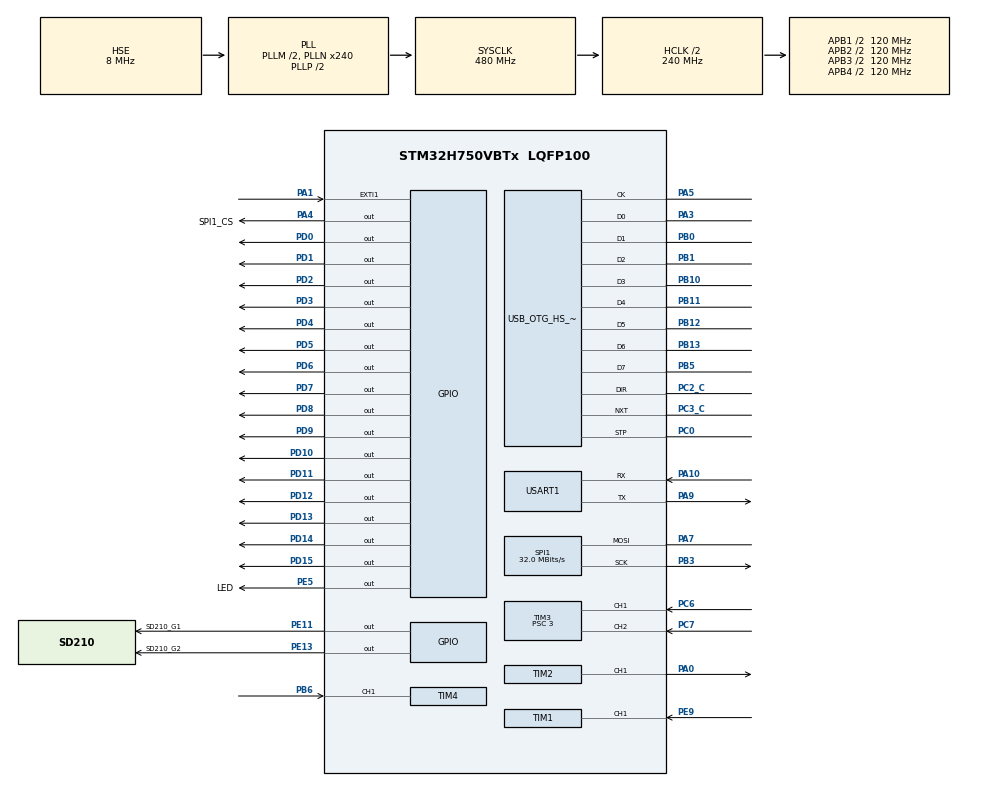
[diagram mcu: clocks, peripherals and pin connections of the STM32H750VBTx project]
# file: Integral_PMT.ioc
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CORTEX_M7.default_mode_Activation=0
Mcu.Family=STM32H7
Mcu.Name=STM32H750VBTx
Mcu.Package=LQFP100
NVIC.EXTI1_IRQn=true\:0\:0\:false\:false\:true\:true\:true\:true
NVIC.OTG_HS_EP1_IN_IRQn=true\:0\:0\:false\:false\:true\:true\:true\:true
NVIC.OTG_HS_EP1_OUT_IRQn=true\:0\:0\:false\:false\:true\:true\:true\:true
NVIC.OTG_HS_IRQn=true\:0\:0\:false\:false\:true\:false\:true\:true
NVIC.PriorityGroup=NVIC_PRIORITYGROUP_4
NVIC.TIM1_CC_IRQn=true\:0\:0\:false\:false\:true\:true\:true\:true
NVIC.TIM3_IRQn=true\:0\:0\:false\:false\:true\:true\:true\:true
NVIC.TIM4_IRQn=true\:0\:0\:false\:false\:true\:true\:true\:true
NVIC.USART1_IRQn=true\:0\:0\:false\:false\:true\:true\:true\:true
PA0.Signal=S_TIM2_CH1_ETR
PA1.Signal=GPXTI1
PA10.Mode=Asynchronous
PA10.Signal=USART1_RX
PA3.Mode=Device_HS
PA3.Signal=USB_OTG_HS_ULPI_D0
PA4.GPIO_Label=SPI1_CS
PA4.Signal=GPIO_Output
PA5.Mode=Device_HS
PA5.Signal=USB_OTG_HS_ULPI_CK
PA7.Mode=Simplex_Bidirectional_Master
PA7.Signal=SPI1_MOSI
PA9.Mode=Asynchronous
PA9.Signal=USART1_TX
PB0.Mode=Device_HS
PB0.Signal=USB_OTG_HS_ULPI_D1
PB1.Mode=Device_HS
PB1.Signal=USB_OTG_HS_ULPI_D2
PB10.Mode=Device_HS
PB10.Signal=USB_OTG_HS_ULPI_D3
PB11.Mode=Device_HS
PB11.Signal=USB_OTG_HS_ULPI_D4
PB12.Mode=Device_HS
PB12.Signal=USB_OTG_HS_ULPI_D5
PB13.Mode=Device_HS
PB13.Signal=USB_OTG_HS_ULPI_D6
PB3\ (JTDO/TRACESWO).Mode=Simplex_Bidirectional_Master
PB3\ (JTDO/TRACESWO).Signal=SPI1_SCK
PB5.Mode=Device_HS
PB5.Signal=USB_OTG_HS_ULPI_D7
PB6.Signal=S_TIM4_CH1
PC0.Mode=Device_HS
PC0.Signal=USB_OTG_HS_ULPI_STP
PC2_C.Mode=Device_HS
PC2_C.Signal=USB_OTG_HS_ULPI_DIR
PC3_C.Mode=Device_HS
PC3_C.Signal=USB_OTG_HS_ULPI_NXT
PC6.Signal=S_TIM3_CH1
PC7.Signal=S_TIM3_CH2
PD0.Signal=GPIO_Output
PD1.Signal=GPIO_Output
PD10.Signal=GPIO_Output
PD11.Signal=GPIO_Output
PD12.Signal=GPIO_Output
PD13.Signal=GPIO_Output
PD14.Signal=GPIO_Output
PD15.Signal=GPIO_Output
PD2.Signal=GPIO_Output
PD3.Signal=GPIO_Output
PD4.Signal=GPIO_Output
PD5.Signal=GPIO_Output
PD6.Signal=GPIO_Output
PD7.Signal=GPIO_Output
PD8.Signal=GPIO_Output
PD9.Signal=GPIO_Output
PE11.GPIO_Label=SD210_G1
PE11.Signal=GPIO_Output
PE13.GPIO_Label=SD210_G2
PE13.Signal=GPIO_Output
PE5.GPIO_Label=LED
PE5.Signal=GPIO_Output
PE9.Signal=S_TIM1_CH1
PH0-OSC_IN\ (PH0).Mode=HSE-External-Oscillator
PH0-OSC_IN\ (PH0).Signal=RCC_OSC_IN
PH1-OSC_OUT\ (PH1).Mode=HSE-External-Oscillator
PH1-OSC_OUT\ (PH1).Signal=RCC_OSC_OUT
ProjectManager.HeapSize=0x200
ProjectManager.StackSize=0x400
ProjectManager.TargetToolchain=STM32CubeIDE
RCC.ADCFreq_Value=16125000
RCC.APB1Freq_Value=120000000
RCC.APB2Freq_Value=120000000
RCC.APB3Freq_Value=120000000
RCC.APB4Freq_Value=120000000
RCC.CortexFreq_Value=480000000
RCC.D1PPRE=RCC_APB3_DIV2
RCC.D2PPRE1=RCC_APB1_DIV2
RCC.D2PPRE2=RCC_APB2_DIV2
RCC.D3PPRE=RCC_APB4_DIV2
RCC.DIVM1=2
RCC.DIVN1=240
RCC.HCLKFreq_Value=240000000
RCC.HPRE=RCC_HCLK_DIV2
RCC.HSE_VALUE=8000000
RCC.PLLSourceVirtual=RCC_PLLSOURCE_HSE
RCC.PWR_Regulator_Voltage_Scale=PWR_REGULATOR_VOLTAGE_SCALE0
RCC.ProductRev=revV
RCC.SPI123CLockSelection=RCC_SPI123CLKSOURCE_CLKP
RCC.SYSCLKFreq_VALUE=480000000
RCC.SYSCLKSource=RCC_SYSCLKSOURCE_PLLCLK
RCC.USBCLockSelection=RCC_USBCLKSOURCE_HSI48
RCC.USBFreq_Value=48000000
SH.S_TIM1_CH1.0=TIM1_CH1,TriggerSource_TI1FP1
SH.S_TIM1_CH1.1=TIM1_CH1,Input_Capture1_from_TI1
SH.S_TIM2_CH1_ETR.0=TIM2_CH1,PWM Generation1 CH1
SH.S_TIM3_CH1.0=TIM3_CH1,Encoder_Interface
SH.S_TIM3_CH2.0=TIM3_CH2,Encoder_Interface
SH.S_TIM4_CH1.0=TIM4_CH1,TriggerSource_TI1FP1
SH.S_TIM4_CH1.1=TIM4_CH1,Input_Capture1_from_TI1
SPI1.BaudRatePrescaler=SPI_BAUDRATEPRESCALER_2
SPI1.CalculateBaudRate=32.0 MBits/s
SPI1.DataSize=SPI_DATASIZE_8BIT
SPI1.Direction=SPI_DIRECTION_1LINE
SPI1.Mode=SPI_MODE_MASTER
SPI1.VirtualType=VM_MASTER
TIM1.Channel-Input_Capture1_from_TI1=TIM_CHANNEL_1
TIM1.Prescaler=3
TIM2.Channel-PWM\ Generation1\ CH1=TIM_CHANNEL_1
TIM2.Period=3-1
TIM2.Prescaler=2-1
TIM3.EncoderMode=TIM_ENCODERMODE_TI12
TIM3.IC1Filter=5
TIM3.IC2Filter=5
TIM3.Prescaler=3
TIM4.Channel-Input_Capture1_from_TI1=TIM_CHANNEL_1
TIM4.ICPolarity_CH1=TIM_INPUTCHANNELPOLARITY_FALLING
TIM4.Prescaler=3
USART1.VirtualMode-Asynchronous=VM_ASYNC
USB_DEVICE.CLASS_NAME_HS=CDC
USB_DEVICE.VirtualMode-CDC_HS=Cdc
USB_DEVICE.VirtualModeHS=Cdc_HS
USB_OTG_HS.VirtualMode-Device_HS=Device_HS
VP_TIM1_VS_ControllerModeReset.Mode=Reset Mode
VP_TIM2_VS_ClockSourceINT.Mode=Internal
VP_TIM4_VS_ControllerModeReset.Mode=Reset Mode
VP_USB_DEVICE_VS_USB_DEVICE_CDC_HS.Mode=CDC_HS
board=custom

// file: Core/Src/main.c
/* USER CODE BEGIN Header */
/**
  ******************************************************************************
  * @file           : main.c
  * @brief          : Main program body
  ******************************************************************************
  * @attention
  *
  * Copyright (c) 2024 STMicroelectronics.
  * All rights reserved.
  *
  * This software is licensed under terms that can be found in the LICENSE file
  * in the root directory of this software component.
  * If no LICENSE file comes with this software, it is provided AS-IS.
  *
  ******************************************************************************
  */
/* USER CODE END Header */
#include "main.h"
#include "spi.h"
#include "tim.h"
#include "usart.h"
#include "usb_device.h"
#include "gpio.h"

/* USER CODE BEGIN Includes */
#include "retarget.h"
#include "AD9268.h"
#include "usbd_cdc_if.h"
/* USER CODE END Includes */

/* USER CODE BEGIN PV */
uint8_t G_AdcValue_U8[2000] = {0};
uint8_t Final_Results[2000] = {0};
/* USER CODE END PV */

void SystemClock_Config(void);
void PeriphCommonClock_Config(void);
/* USER CODE BEGIN PFP */
void Data_Conversion(int j);
/* USER CODE END PFP */

/* USER CODE BEGIN 0 */
extern USBD_HandleTypeDef hUsbDeviceHS;
/* USER CODE END 0 */

int main(void)
{

  /* MCU Configuration--------------------------------------------------------*/

  /* Reset of all peripherals, Initializes the Flash interface and the Systick. */
  HAL_Init();

  /* Configure the system clock */
  SystemClock_Config();

/* Configure the peripherals common clocks */
  PeriphCommonClock_Config();

  /* Initialize all configured peripherals */
  MX_GPIO_Init();
  MX_SPI1_Init();
  MX_TIM2_Init();
  MX_TIM3_Init();
  MX_USART1_UART_Init();
  MX_USB_DEVICE_Init();
  MX_TIM1_Init();
  MX_TIM4_Init();
  /* USER CODE BEGIN 2 */
    RetargetInit(&huart1);

  /* USER CODE END 2 */

  /* Infinite loop */
  /* USER CODE BEGIN WHILE */
    Init_AD9268();
    HAL_Delay(100);
    HAL_TIM_PWM_Start(&htim2, TIM_CHANNEL_1);
    HAL_TIM_Encoder_Start(&htim3, TIM_CHANNEL_ALL);

    while (1)
  {
    /* USER CODE END WHILE */

    /* USER CODE BEGIN 3 */
    if(G_Count>=199)
    {
        //__disable_irq();
        for(int i = 0;i<1599;i+=8){//这里也就转换200个数据，循环200次
            Data_Conversion(i);
        }

        //memcpy(G_AdcValue_U8,G_AdcValue,2000);
        CDC_Transmit_HS(Final_Results, 1600);
        G_Count=0;
    }
      //__enable_irq();
  }

  /* USER CODE END 3 */
}

void SystemClock_Config(void)
{
  RCC_OscInitTypeDef RCC_OscInitStruct = {0};
  RCC_ClkInitTypeDef RCC_ClkInitStruct = {0};

  /** Supply configuration update enable
  */
  HAL_PWREx_ConfigSupply(PWR_LDO_SUPPLY);

  /** Configure the main internal regulator output voltage
  */
  __HAL_PWR_VOLTAGESCALING_CONFIG(PWR_REGULATOR_VOLTAGE_SCALE1);

  while(!__HAL_PWR_GET_FLAG(PWR_FLAG_VOSRDY)) {}

  __HAL_RCC_SYSCFG_CLK_ENABLE();
  __HAL_PWR_VOLTAGESCALING_CONFIG(PWR_REGULATOR_VOLTAGE_SCALE0);

  while(!__HAL_PWR_GET_FLAG(PWR_FLAG_VOSRDY)) {}

  /** Initializes the RCC Oscillators according to the specified parameters
  * in the RCC_OscInitTypeDef structure.
  */
  RCC_OscInitStruct.OscillatorType = RCC_OSCILLATORTYPE_HSI48|RCC_OSCILLATORTYPE_HSI
                              |RCC_OSCILLATORTYPE_HSE;
  RCC_OscInitStruct.HSEState = RCC_HSE_ON;
  RCC_OscInitStruct.HSIState = RCC_HSI_DIV1;
  RCC_OscInitStruct.HSICalibrationValue = RCC_HSICALIBRATION_DEFAULT;
  RCC_OscInitStruct.HSI48State = RCC_HSI48_ON;
  RCC_OscInitStruct.PLL.PLLState = RCC_PLL_ON;
  RCC_OscInitStruct.PLL.PLLSource = RCC_PLLSOURCE_HSE;
  RCC_OscInitStruct.PLL.PLLM = 2;
  RCC_OscInitStruct.PLL.PLLN = 240;
  RCC_OscInitStruct.PLL.PLLP = 2;
  RCC_OscInitStruct.PLL.PLLQ = 2;
  RCC_OscInitStruct.PLL.PLLR = 2;
  RCC_OscInitStruct.PLL.PLLRGE = RCC_PLL1VCIRANGE_2;
  RCC_OscInitStruct.PLL.PLLVCOSEL = RCC_PLL1VCOWIDE;
  RCC_OscInitStruct.PLL.PLLFRACN = 0;
  if (HAL_RCC_OscConfig(&RCC_OscInitStruct) != HAL_OK)
  {
    Error_Handler();
  }

  /** Initializes the CPU, AHB and APB buses clocks
  */
  RCC_ClkInitStruct.ClockType = RCC_CLOCKTYPE_HCLK|RCC_CLOCKTYPE_SYSCLK
                              |RCC_CLOCKTYPE_PCLK1|RCC_CLOCKTYPE_PCLK2
                              |RCC_CLOCKTYPE_D3PCLK1|RCC_CLOCKTYPE_D1PCLK1;
  RCC_ClkInitStruct.SYSCLKSource = RCC_SYSCLKSOURCE_PLLCLK;
  RCC_ClkInitStruct.SYSCLKDivider = RCC_SYSCLK_DIV1;
  RCC_ClkInitStruct.AHBCLKDivider = RCC_HCLK_DIV2;
  RCC_ClkInitStruct.APB3CLKDivider = RCC_APB3_DIV2;
  RCC_ClkInitStruct.APB1CLKDivider = RCC_APB1_DIV2;
  RCC_ClkInitStruct.APB2CLKDivider = RCC_APB2_DIV2;
  RCC_ClkInitStruct.APB4CLKDivider = RCC_APB4_DIV2;

  if (HAL_RCC_ClockConfig(&RCC_ClkInitStruct, FLASH_LATENCY_4) != HAL_OK)
  {
    Error_Handler();
  }
}

void PeriphCommonClock_Config(void)
{
  RCC_PeriphCLKInitTypeDef PeriphClkInitStruct = {0};

  /** Initializes the peripherals clock
  */
  PeriphClkInitStruct.PeriphClockSelection = RCC_PERIPHCLK_CKPER;
  PeriphClkInitStruct.CkperClockSelection = RCC_CLKPSOURCE_HSI;
  if (HAL_RCCEx_PeriphCLKConfig(&PeriphClkInitStruct) != HAL_OK)
  {
    Error_Handler();
  }
}

/* USER CODE BEGIN 4 */
void Data_Conversion(int j)
{
    Final_Results[j]   = (uint8_t)(G_AdcValue[j/8] & 0xFF);
    Final_Results[j+1] = (uint8_t)((G_AdcValue[j/8] >> 8) & 0xFF);
    Final_Results[j+2] = (uint8_t)(G_Encoder[j/8] & 0xFF);
    Final_Results[j+3] = (uint8_t)((G_Encoder[j/8] >> 8) & 0xFF);
    if(G_Encoder[j]>50000)
    {
        Final_Results[j+4] = 0xff;
        Final_Results[j+5] = 0xff;
    }else
    {
        Final_Results[j+4] = 0x00;
        Final_Results[j+5] = 0x00;
    }
    Final_Results[j+6] = 0x0D;
    Final_Results[j+7] = 0xFF;
}
/* USER CODE END 4 */

void Error_Handler(void)
{
  __disable_irq();
  while (1)
  {
  }
}
